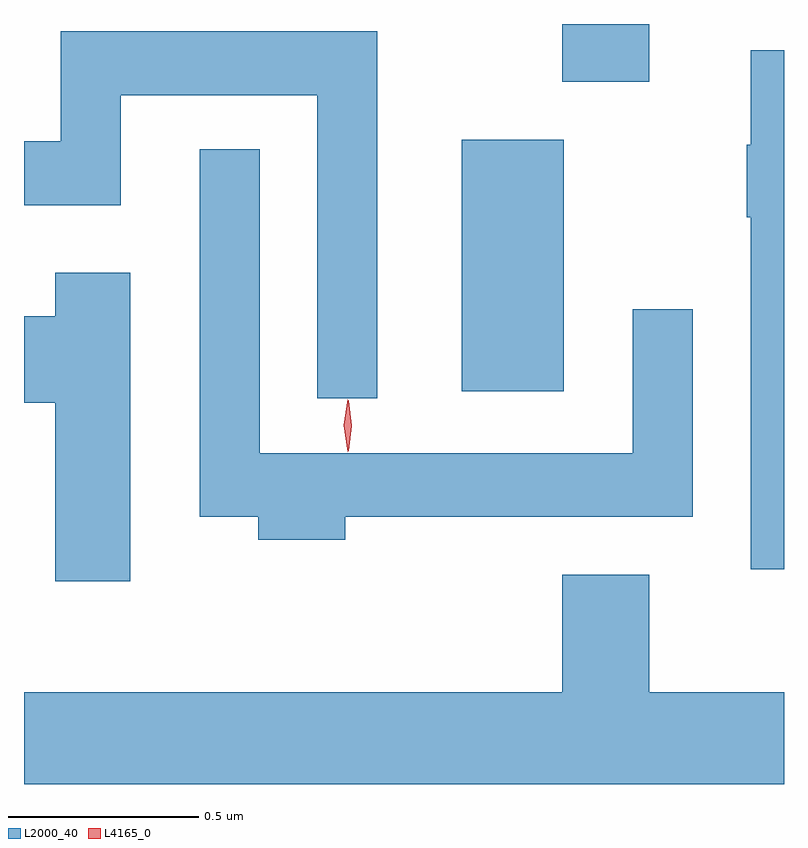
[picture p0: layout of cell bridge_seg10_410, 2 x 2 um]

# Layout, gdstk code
import gdstk
lib = gdstk.Library(unit=1e-6, precision=1e-09)
def R(c, l, rs):  # rectangles x0, y0, x1, y1
    for r in rs: c.add(gdstk.rectangle(r[:2], r[2:], *l))
def P(c, l, *ps):  # polygons
    for p in ps: c.add(gdstk.Polygon(p, *l))
L2000_40 = (2000, 40)
L4165_0 = (4165, 0)

bridge_seg10_410 = lib.new_cell('bridge_seg10_410')
R(bridge_seg10_410, L2000_40, [(1408.136,2121.636,1408.404,2122.299), (1408.401,2122.451,1408.629,2122.603)])
P(bridge_seg10_410, L2000_40, [(1407.914,2122.584),(1407.081,2122.584),(1407.081,2122.294),(1406.984,2122.294),(1406.984,2122.126),(1407.239,2122.126),(1407.239,2122.416),(1407.756,2122.416),(1407.756,2121.618),(1407.914,2121.618)],
  [(1408.984,2122.534),(1408.896,2122.534),(1408.896,2122.285),(1408.886,2122.285),(1408.886,2122.095),(1408.896,2122.095),(1408.896,2121.168),(1408.984,2121.168)],
  [(1407.829,2121.306),(1408.744,2121.306),(1408.744,2121.853),(1408.586,2121.853),(1408.586,2121.474),(1407.604,2121.474),(1407.604,2122.273),(1407.446,2122.273),(1407.446,2121.306),(1407.601,2121.306),(1407.601,2121.246),(1407.829,2121.246)],
  [(1407.264,2121.949),(1407.066,2121.949),(1407.066,2121.834),(1406.984,2121.834),(1406.984,2121.606),(1407.066,2121.606),(1407.066,2121.136),(1407.264,2121.136)],
  [(1408.984,2120.844),(1408.629,2120.844),(1408.629,2121.154),(1408.401,2121.154),(1408.401,2120.844),(1406.984,2120.844),(1406.984,2120.603),(1408.984,2120.603)])
P(bridge_seg10_410, L4165_0, [(1407.837,2121.479),(1407.837,2121.48),(1407.827,2121.546),(1407.836,2121.612),(1407.837,2121.613),(1407.838,2121.612),(1407.847,2121.546),(1407.838,2121.48)],
  [(1407.836,2121.477),(1407.836,2121.477),(1407.826,2121.547),(1407.836,2121.616),(1407.836,2121.616),(1407.836,2121.616),(1407.846,2121.547),(1407.836,2121.477)])

lib.write_gds('bridge_seg10_410.gds')
